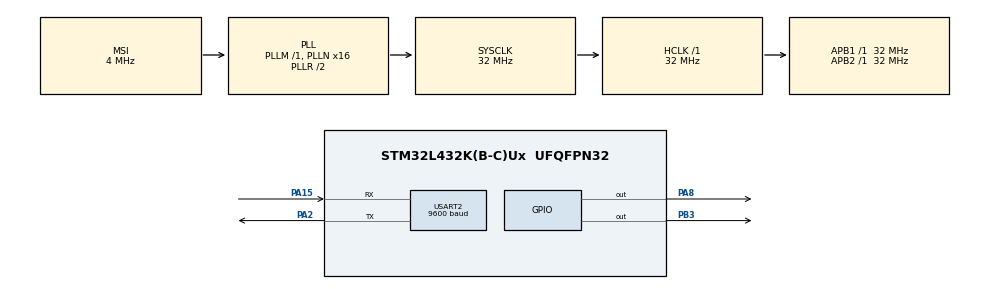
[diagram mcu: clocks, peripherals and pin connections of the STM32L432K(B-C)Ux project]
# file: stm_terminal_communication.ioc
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Dma.Request0=USART2_RX
Dma.USART2_RX.0.Direction=DMA_PERIPH_TO_MEMORY
Dma.USART2_RX.0.Instance=DMA1_Channel6
Dma.USART2_RX.0.MemDataAlignment=DMA_MDATAALIGN_BYTE
Dma.USART2_RX.0.MemInc=DMA_MINC_ENABLE
Dma.USART2_RX.0.Mode=DMA_NORMAL
Dma.USART2_RX.0.PeriphDataAlignment=DMA_PDATAALIGN_BYTE
Dma.USART2_RX.0.PeriphInc=DMA_PINC_DISABLE
Dma.USART2_RX.0.Priority=DMA_PRIORITY_LOW
Mcu.Family=STM32L4
Mcu.Name=STM32L432K(B-C)Ux
Mcu.Package=UFQFPN32
NVIC.DMA1_Channel6_IRQn=true\:0\:0\:false\:false\:true\:false\:true\:true
NVIC.PriorityGroup=NVIC_PRIORITYGROUP_4
NVIC.USART2_IRQn=true\:0\:0\:false\:false\:true\:true\:true\:true
PA15\ (JTDI).Mode=Asynchronous
PA15\ (JTDI).Signal=USART2_RX
PA2.Mode=Asynchronous
PA2.Signal=USART2_TX
PA8.Signal=GPIO_Output
PB3\ (JTDO-TRACESWO).Signal=GPIO_Output
ProjectManager.HeapSize=0x200
ProjectManager.StackSize=0x400
ProjectManager.TargetToolchain=CMake
RCC.AHBFreq_Value=32000000
RCC.APB1Freq_Value=32000000
RCC.APB1TimFreq_Value=32000000
RCC.APB2Freq_Value=32000000
RCC.APB2TimFreq_Value=32000000
RCC.CortexFreq_Value=32000000
RCC.HCLKFreq_Value=32000000
RCC.HSE_VALUE=8000000
RCC.HSI16_VALUE=16000000
RCC.HSI48_VALUE=48000000
RCC.HSI_VALUE=16000000
RCC.LSE_VALUE=32768
RCC.MSI_VALUE=4000000
RCC.PLLMUL=RCC_PLLMUL_4
RCC.PLLN=16
RCC.SYSCLKFreq_VALUE=32000000
RCC.SYSCLKSource=RCC_SYSCLKSOURCE_PLLCLK
RCC.VCOOutputFreq_Value=64000000
USART2.BaudRate=9600
USART2.VirtualMode-Asynchronous=VM_ASYNC
board=NUCLEO-L432KC

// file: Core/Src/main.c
/* USER CODE BEGIN Header */
/**
  ******************************************************************************
  * @file           : main.c
  * @brief          : Main program body
  ******************************************************************************
  * @attention
  *
  * Copyright (c) 2026 STMicroelectronics.
  * All rights reserved.
  *
  * This software is licensed under terms that can be found in the LICENSE file
  * in the root directory of this software component.
  * If no LICENSE file comes with this software, it is provided AS-IS.
  *
  ******************************************************************************
  */
/* USER CODE END Header */
#include "main.h"

/* USER CODE BEGIN Includes */
#include <stdint.h>
#include <stdio.h>
#include <string.h>

/* USER CODE END Includes */

UART_HandleTypeDef huart2;
DMA_HandleTypeDef hdma_usart2_rx;

/* USER CODE BEGIN PV */
char rxByte = 0;
char mainBuffer[100];
char processingBuffer[150];
char uartLogBuffer[150];
uint8_t bufferIndex = 0;
volatile uint8_t stringReady = 0;

/* USER CODE END PV */

void SystemClock_Config(void);
static void MX_GPIO_Init(void);
static void MX_DMA_Init(void);
static void MX_USART2_UART_Init(void);

/* USER CODE BEGIN 0 */

void HAL_UARTEx_RxEventCallback(UART_HandleTypeDef *huart, uint16_t Size)
{
  if (huart->Instance == USART2 && Size > 0)
  {
    // 1. Snapshot the data
    memcpy(processingBuffer, mainBuffer, Size);
    processingBuffer[Size] = '\0';
    stringReady = 1;

    // 2. IMPORTANT: Manually restart DMA to reset the pointer to Index 0
    HAL_UARTEx_ReceiveToIdle_DMA(&huart2, (uint8_t*)mainBuffer, 100);
  }
}

/* USER CODE END 0 */

int main(void)
{

  /* MCU Configuration--------------------------------------------------------*/

  /* Reset of all peripherals, Initializes the Flash interface and the Systick. */
  HAL_Init();

  /* Configure the system clock */
  SystemClock_Config();

  /* Initialize all configured peripherals */
  MX_GPIO_Init();
  MX_DMA_Init();
  MX_USART2_UART_Init();
  /* USER CODE BEGIN 2 */

  // Start receiving into mainBuffer.
  // It will automatically wrap around because of Circular mode.
  HAL_UARTEx_ReceiveToIdle_DMA(&huart2, (uint8_t*)mainBuffer, 100);

  /* USER CODE END 2 */

  /* Infinite loop */
  /* USER CODE BEGIN WHILE */
  HAL_GPIO_WritePin(GPIOB, GPIO_PIN_3, GPIO_PIN_SET);
  while (1)
  {
    if (stringReady)
    {
      stringReady = 0; // Reset flag

      // Print the whole captured string back to the terminal
      int len = sprintf(uartLogBuffer, "String Received: %s\r\n", mainBuffer);
      HAL_UART_Transmit(&huart2, (uint8_t*)uartLogBuffer, len, 100);

      memset(processingBuffer, 0, sizeof(processingBuffer));

    }
    /* USER CODE END WHILE */

  }
}

void SystemClock_Config(void)
{
  RCC_OscInitTypeDef RCC_OscInitStruct = {0};
  RCC_ClkInitTypeDef RCC_ClkInitStruct = {0};

  /** Configure the main internal regulator output voltage
  */
  if (HAL_PWREx_ControlVoltageScaling(PWR_REGULATOR_VOLTAGE_SCALE1) != HAL_OK)
  {
    Error_Handler();
  }

  /** Initializes the RCC Oscillators according to the specified parameters
  * in the RCC_OscInitTypeDef structure.
  */
  RCC_OscInitStruct.OscillatorType = RCC_OSCILLATORTYPE_MSI;
  RCC_OscInitStruct.MSIState = RCC_MSI_ON;
  RCC_OscInitStruct.MSICalibrationValue = 0;
  RCC_OscInitStruct.MSIClockRange = RCC_MSIRANGE_6;
  RCC_OscInitStruct.PLL.PLLState = RCC_PLL_ON;
  RCC_OscInitStruct.PLL.PLLSource = RCC_PLLSOURCE_MSI;
  RCC_OscInitStruct.PLL.PLLM = 1;
  RCC_OscInitStruct.PLL.PLLN = 16;
  RCC_OscInitStruct.PLL.PLLP = RCC_PLLP_DIV7;
  RCC_OscInitStruct.PLL.PLLQ = RCC_PLLQ_DIV2;
  RCC_OscInitStruct.PLL.PLLR = RCC_PLLR_DIV2;
  if (HAL_RCC_OscConfig(&RCC_OscInitStruct) != HAL_OK)
  {
    Error_Handler();
  }

  /** Initializes the CPU, AHB and APB buses clocks
  */
  RCC_ClkInitStruct.ClockType = RCC_CLOCKTYPE_HCLK|RCC_CLOCKTYPE_SYSCLK
                              |RCC_CLOCKTYPE_PCLK1|RCC_CLOCKTYPE_PCLK2;
  RCC_ClkInitStruct.SYSCLKSource = RCC_SYSCLKSOURCE_PLLCLK;
  RCC_ClkInitStruct.AHBCLKDivider = RCC_SYSCLK_DIV1;
  RCC_ClkInitStruct.APB1CLKDivider = RCC_HCLK_DIV1;
  RCC_ClkInitStruct.APB2CLKDivider = RCC_HCLK_DIV1;

  if (HAL_RCC_ClockConfig(&RCC_ClkInitStruct, FLASH_LATENCY_1) != HAL_OK)
  {
    Error_Handler();
  }
}

static void MX_USART2_UART_Init(void)
{

  huart2.Instance = USART2;
  huart2.Init.BaudRate = 9600;
  huart2.Init.WordLength = UART_WORDLENGTH_8B;
  huart2.Init.StopBits = UART_STOPBITS_1;
  huart2.Init.Parity = UART_PARITY_NONE;
  huart2.Init.Mode = UART_MODE_TX_RX;
  huart2.Init.HwFlowCtl = UART_HWCONTROL_NONE;
  huart2.Init.OverSampling = UART_OVERSAMPLING_16;
  huart2.Init.OneBitSampling = UART_ONE_BIT_SAMPLE_DISABLE;
  huart2.AdvancedInit.AdvFeatureInit = UART_ADVFEATURE_NO_INIT;
  if (HAL_UART_Init(&huart2) != HAL_OK)
  {
    Error_Handler();
  }

}

static void MX_DMA_Init(void)
{

  /* DMA controller clock enable */
  __HAL_RCC_DMA1_CLK_ENABLE();

  /* DMA interrupt init */
  /* DMA1_Channel6_IRQn interrupt configuration */
  HAL_NVIC_SetPriority(DMA1_Channel6_IRQn, 0, 0);
  HAL_NVIC_EnableIRQ(DMA1_Channel6_IRQn);

}

static void MX_GPIO_Init(void)
{
  GPIO_InitTypeDef GPIO_InitStruct = {0};

  /* GPIO Ports Clock Enable */
  __HAL_RCC_GPIOA_CLK_ENABLE();
  __HAL_RCC_GPIOB_CLK_ENABLE();

  /*Configure GPIO pin Output Level */
  HAL_GPIO_WritePin(GPIOA, GPIO_PIN_8, GPIO_PIN_RESET);

  /*Configure GPIO pin Output Level */
  HAL_GPIO_WritePin(GPIOB, GPIO_PIN_3, GPIO_PIN_RESET);

  /*Configure GPIO pin : PA8 */
  GPIO_InitStruct.Pin = GPIO_PIN_8;
  GPIO_InitStruct.Mode = GPIO_MODE_OUTPUT_PP;
  GPIO_InitStruct.Pull = GPIO_NOPULL;
  GPIO_InitStruct.Speed = GPIO_SPEED_FREQ_LOW;
  HAL_GPIO_Init(GPIOA, &GPIO_InitStruct);

  /*Configure GPIO pin : PB3 */
  GPIO_InitStruct.Pin = GPIO_PIN_3;
  GPIO_InitStruct.Mode = GPIO_MODE_OUTPUT_PP;
  GPIO_InitStruct.Pull = GPIO_NOPULL;
  GPIO_InitStruct.Speed = GPIO_SPEED_FREQ_LOW;
  HAL_GPIO_Init(GPIOB, &GPIO_InitStruct);

}

void Error_Handler(void)
{
  __disable_irq();
  while (1)
  {
  }
}
